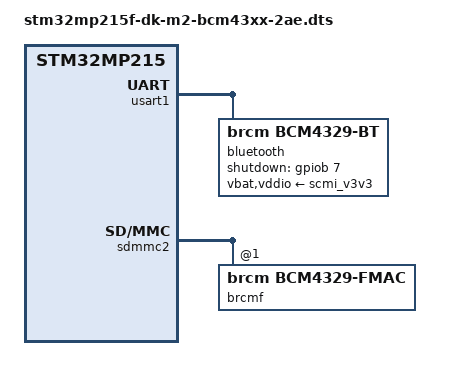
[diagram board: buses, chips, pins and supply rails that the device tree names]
// SPDX-License-Identifier: (GPL-2.0-only OR BSD-3-Clause)
/*
 * Copyright (C) STMicroelectronics 2024 - All Rights Reserved
 * Author: Amelie Delaunay <amelie.delaunay@foss.st.com> for STMicroelectronics.
 */

/dts-v1/;
/plugin/;

#include <dt-bindings/gpio/gpio.h>
#include <dt-bindings/input/input.h>

/* STM32MP215F-DK connector M2 */
/* add combo wifi/bluetooth BCM4373 1EA */

/ {
	compatible = "st,stm32mp215-dk";
	fragment@0 {
		target = <&usart1>;
		__overlay__ {
			status = "okay";
			bluetooth {
				compatible = "brcm,bcm4329-bt";
				shutdown-gpios = <&gpiob 7 GPIO_ACTIVE_HIGH>;
				max-speed = <3000000>;
				vbat-supply = <&scmi_v3v3>;
				vddio-supply = <&scmi_v3v3>;
			};
		};
	};

	fragment@1 {
		target = <&sdmmc2>;
		__overlay__ {
			status = "okay";
			brcmf: bcrmf@1 {
				compatible = "brcm,bcm4329-fmac";
				reg = <1>;
			};
		};
	};
};
